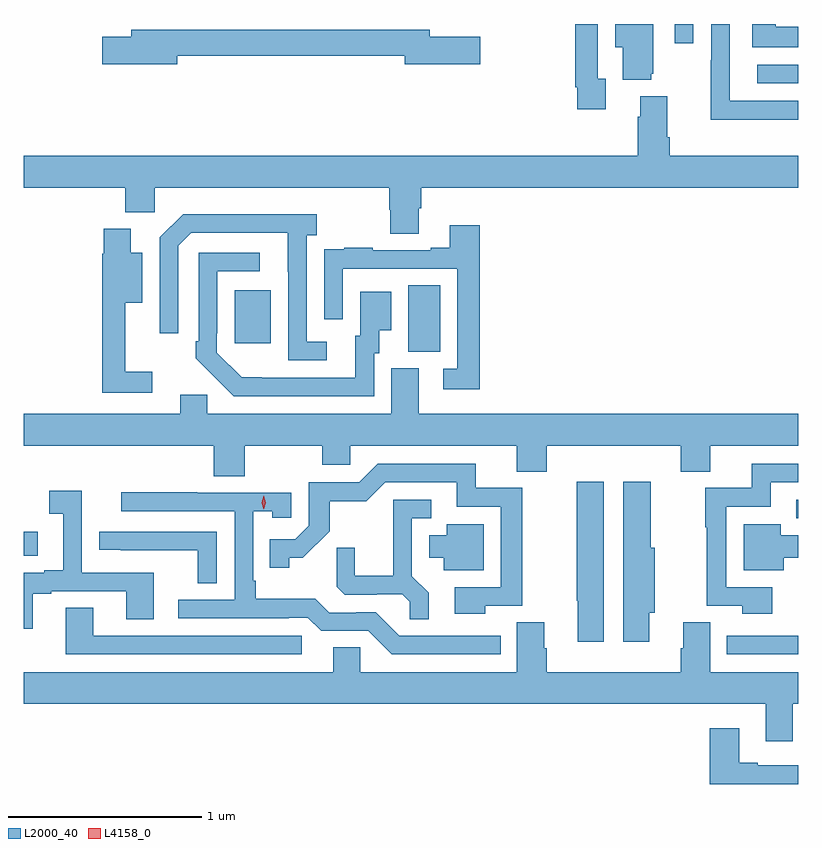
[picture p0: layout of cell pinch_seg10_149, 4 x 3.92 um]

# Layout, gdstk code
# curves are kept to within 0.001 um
import gdstk
lib = gdstk.Library(unit=1e-6, precision=1e-09)
def R(c, l, rs):  # rectangles x0, y0, x1, y1
    for r in rs: c.add(gdstk.rectangle(r[:2], r[2:], *l))
def P(c, l, *ps):  # polygons
    for p in ps: c.add(gdstk.Polygon(p, *l))
L2000_40 = (2000, 40)
L4158_0 = (4158, 0)

pinch_seg10_149 = lib.new_cell('pinch_seg10_149')
R(pinch_seg10_149, L2000_40, [(724.67,1273.932,725.04,1274.028), (721.04,1274.441,721.114,1274.565), (725.028,1274.634,725.04,1274.73), (723.026,1275.493,723.19,1275.836), (722.129,1275.537,722.317,1275.811), (724.827,1276.878,725.04,1276.974), (724.401,1277.085,724.497,1277.185)])
P(pinch_seg10_149, L2000_40, [(725.04,1276.788),(724.686,1276.788),(724.686,1277.185),(724.59,1277.185),(724.59,1276.997),(724.588,1276.997),(724.588,1276.691),(725.04,1276.691)],
  [(724.045,1276.902),(724.005,1276.902),(724.005,1277.185),(723.889,1277.185),(723.889,1276.858),(723.897,1276.858),(723.897,1276.746),(724.045,1276.746)],
  [(725.04,1277.17),(724.923,1277.17),(724.923,1277.185),(724.802,1277.185),(724.802,1277.066),(725.04,1277.066)],
  [(724.28,1276.929),(724.291,1276.929),(724.291,1277.185),(724.094,1277.185),(724.094,1277.066),(724.133,1277.066),(724.133,1276.898),(724.28,1276.898)],
  [(721.834,1277.02),(723.008,1277.02),(723.008,1276.978),(723.397,1276.978),(723.397,1277.12),(723.136,1277.12),(723.136,1277.156),(721.595,1277.156),(721.595,1277.12),(721.446,1277.12),(721.446,1276.978),(721.834,1276.978)],
  [(723.079,1276.234),(723.092,1276.234),(723.092,1276.34),(725.04,1276.34),(725.04,1276.504),(724.376,1276.504),(724.376,1276.6),(724.363,1276.6),(724.363,1276.813),(724.223,1276.813),(724.223,1276.706),(724.211,1276.706),(724.211,1276.504),(721.04,1276.504),(721.04,1276.34),(721.565,1276.34),(721.565,1276.214),(721.716,1276.214),(721.716,1276.34),(722.927,1276.34),(722.927,1276.227),(722.932,1276.227),(722.932,1276.102),(723.079,1276.102)],
  [(722.605,1275.546),(722.502,1275.546),(722.502,1276.094),(722.554,1276.094),(722.554,1276.204),(721.864,1276.204),(721.743,1276.083),(721.743,1275.588),(721.839,1275.588),(721.839,1276.041),(721.905,1276.107),(722.405,1276.107),(722.406,1275.45),(722.605,1275.45)],
  [(723.395,1276.147),(723.239,1276.147),(723.239,1276.03),(723.143,1276.03),(723.143,1276.017),(722.843,1276.017),(722.843,1276.03),(722.695,1276.03),(722.695,1276.023),(722.593,1276.023),(722.593,1275.914),(722.592,1275.914),(722.592,1275.66),(722.688,1275.66),(722.688,1275.921),(723.279,1275.921),(723.279,1275.405),(723.207,1275.405),(723.207,1275.3),(723.395,1275.3)],
  [(721.705,1275.391),(721.565,1275.391),(721.565,1275.746),(721.654,1275.746),(721.654,1276.003),(721.594,1276.003),(721.594,1276.129),(721.454,1276.129),(721.454,1275.999),(721.447,1275.999),(721.447,1275.282),(721.705,1275.282)],
  [(722.85,1275.486),(722.875,1275.486),(722.875,1275.605),(722.938,1275.605),(722.938,1275.802),(722.777,1275.802),(722.777,1275.576),(722.753,1275.576),(722.753,1275.36),(722.166,1275.361),(722.037,1275.489),(722.037,1275.589),(722.04,1275.589),(722.04,1275.909),(722.26,1275.909),(722.26,1276.005),(721.944,1276.005),(721.944,1275.547),(721.929,1275.547),(721.929,1275.459),(722.126,1275.264),(722.85,1275.264)],
  [(722.181,1275.008),(722.581,1275.008),(722.581,1274.91),(722.727,1274.91),(722.727,1275.008),(723.587,1275.008),(723.587,1274.875),(723.74,1274.875),(723.74,1275.008),(724.433,1275.008),(724.433,1274.875),(724.585,1274.875),(724.585,1275.008),(725.04,1275.008),(725.04,1275.172),(723.079,1275.172),(723.079,1275.408),(722.939,1275.408),(722.939,1275.172),(721.989,1275.172),(721.989,1275.27),(721.85,1275.27),(721.85,1275.172),(721.04,1275.172),(721.04,1275.008),(722.021,1275.008),(722.021,1274.851),(722.181,1274.851)],
  [(723.423,1274.181),(723.613,1274.181),(723.613,1274.79),(723.374,1274.79),(723.374,1274.916),(722.868,1274.916),(722.772,1274.82),(722.511,1274.82),(722.511,1274.595),(722.442,1274.526),(722.311,1274.526),(722.311,1274.379),(722.412,1274.379),(722.412,1274.429),(722.482,1274.429),(722.62,1274.566),(722.62,1274.722),(722.809,1274.722),(722.907,1274.82),(723.275,1274.82),(723.275,1274.694),(723.504,1274.694),(723.504,1274.277),(723.267,1274.277),(723.267,1274.141),(723.423,1274.141)],
  [(724.906,1274.277),(724.668,1274.277),(724.668,1274.694),(724.897,1274.694),(724.897,1274.82),(725.04,1274.82),(725.04,1274.916),(724.799,1274.916),(724.799,1274.79),(724.56,1274.79),(724.56,1274.587),(724.567,1274.587),(724.567,1274.181),(724.75,1274.181),(724.75,1274.141),(724.906,1274.141)],
  [(724.27,1274.145),(724.297,1274.145),(724.297,1274.481),(724.278,1274.481),(724.278,1274.821),(724.136,1274.821),(724.136,1273.995),(724.27,1273.995)],
  [(724.036,1274.821),(723.895,1274.821),(723.895,1274.207),(723.902,1274.207),(723.902,1273.995),(724.036,1273.995)],
  [(721.087,1274.244),(721.183,1274.244),(721.183,1274.256),(721.571,1274.256),(721.571,1274.113),(721.711,1274.113),(721.711,1274.352),(721.341,1274.352),(721.341,1274.776),(721.173,1274.776),(721.173,1274.656),(721.244,1274.656),(721.244,1274.365),(721.148,1274.365),(721.148,1274.352),(721.04,1274.352),(721.04,1274.064),(721.087,1274.064)],
  [(723.502,1274.028),(722.979,1274.028),(722.859,1274.148),(722.758,1274.148),(722.758,1274.145),(722.619,1274.145),(722.546,1274.218),(722.239,1274.218),(722.239,1274.311),(722.226,1274.311),(722.226,1274.669),(722.325,1274.669),(722.325,1274.637),(722.421,1274.637),(722.421,1274.766),(721.937,1274.766),(721.937,1274.769),(721.545,1274.769),(721.545,1274.67),(722.13,1274.67),(722.13,1274.214),(721.839,1274.214),(721.839,1274.118),(722.408,1274.118),(722.408,1274.121),(722.508,1274.121),(722.577,1274.052),(722.82,1274.052),(722.94,1273.932),(723.502,1273.932)],
  [(723.131,1274.249),(723.045,1274.335),(723.045,1274.634),(723.145,1274.634),(723.145,1274.73),(722.948,1274.73),(722.948,1274.338),(722.75,1274.338),(722.75,1274.481),(722.656,1274.481),(722.656,1274.279),(722.697,1274.238),(722.862,1274.238),(722.862,1274.241),(722.996,1274.241),(723.033,1274.204),(723.033,1274.113),(723.131,1274.113)],
  [(724.963,1274.429),(725.038,1274.429),(725.038,1274.545),(724.948,1274.545),(724.948,1274.602),(724.757,1274.602),(724.757,1274.366),(724.963,1274.366)],
  [(723.415,1274.602),(723.224,1274.602),(723.224,1274.545),(723.134,1274.545),(723.134,1274.429),(723.209,1274.429),(723.209,1274.366),(723.415,1274.366)],
  [(722.037,1274.565),(721.431,1274.565),(721.431,1274.47),(721.543,1274.47),(721.543,1274.469),(721.939,1274.469),(721.939,1274.299),(722.037,1274.299)],
  [(722.476,1274.028),(721.399,1274.028),(721.399,1274.171),(721.259,1274.171),(721.259,1273.932),(722.476,1273.932)],
  [(725.011,1273.676),(725.04,1273.676),(725.04,1273.84),(724.585,1273.84),(724.585,1274.096),(724.445,1274.096),(724.445,1273.962),(724.433,1273.962),(724.433,1273.84),(723.74,1273.84),(723.74,1273.962),(723.727,1273.962),(723.727,1274.096),(723.587,1274.096),(723.587,1273.84),(722.778,1273.84),(722.778,1273.967),(722.639,1273.967),(722.639,1273.84),(721.04,1273.84),(721.04,1273.676),(724.871,1273.676),(724.871,1273.482),(725.011,1273.482)],
  [(725.04,1273.359),(724.831,1273.359),(724.831,1273.372),(724.735,1273.372),(724.735,1273.549),(724.583,1273.549),(724.583,1273.262),(725.04,1273.262)])
P(pinch_seg10_149, L4158_0, [(722.28,1274.679),(722.28,1274.679),(722.27,1274.715),(722.28,1274.751),(722.28,1274.751),(722.28,1274.751),(722.29,1274.715),(722.28,1274.679)])

lib.write_gds('pinch_seg10_149.gds')
